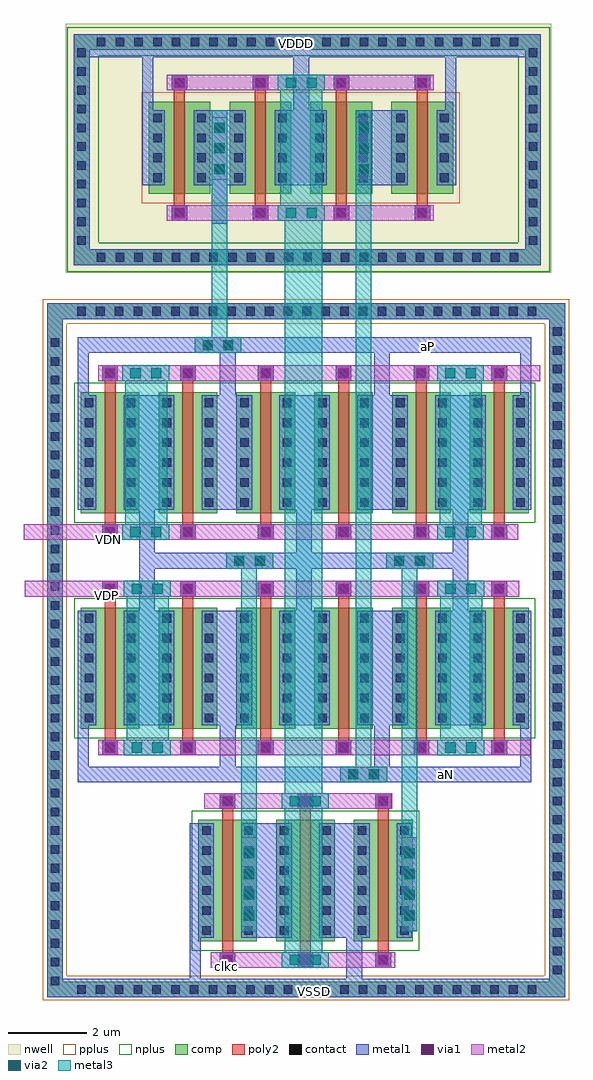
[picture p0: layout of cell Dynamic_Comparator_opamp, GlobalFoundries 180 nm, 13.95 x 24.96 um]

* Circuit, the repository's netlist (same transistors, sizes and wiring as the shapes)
** sch_path: /home/gmaranhao/Desktop/Juan_bracolin/PICO_contest/Dynamic_Comparator/xschem/Dynamic_Comparator_opamp.sch
.subckt Dynamic_Comparator_opamp aN VDDD aP VSSD clkc VDP VDN
*.PININFO VDDD:B VSSD:B clkc:I VDP:I VDN:I aN:B aP:B
M0[1] x clkc VSSD VSSD nfet_03v3 L=0.28u W=3.1u nf=1 m=1
M0[2] x clkc VSSD VSSD nfet_03v3 L=0.28u W=3.1u nf=1 m=1
M0[3] x clkc VSSD VSSD nfet_03v3 L=0.28u W=3.1u nf=1 m=1
M1[1] aN VDP x VSSD nfet_03v3 L=0.28u W=3.1u nf=1 m=1
M1[2] aN VDP x VSSD nfet_03v3 L=0.28u W=3.1u nf=1 m=1
M1[3] aN VDP x VSSD nfet_03v3 L=0.28u W=3.1u nf=1 m=1
M1[4] aN VDP x VSSD nfet_03v3 L=0.28u W=3.1u nf=1 m=1
M1[5] aN VDP x VSSD nfet_03v3 L=0.28u W=3.1u nf=1 m=1
M1[6] aN VDP x VSSD nfet_03v3 L=0.28u W=3.1u nf=1 m=1
M2[1] aP VDN x VSSD nfet_03v3 L=0.28u W=3.1u nf=1 m=1
M2[2] aP VDN x VSSD nfet_03v3 L=0.28u W=3.1u nf=1 m=1
M2[3] aP VDN x VSSD nfet_03v3 L=0.28u W=3.1u nf=1 m=1
M2[4] aP VDN x VSSD nfet_03v3 L=0.28u W=3.1u nf=1 m=1
M2[5] aP VDN x VSSD nfet_03v3 L=0.28u W=3.1u nf=1 m=1
M2[6] aP VDN x VSSD nfet_03v3 L=0.28u W=3.1u nf=1 m=1
M3[1] aN clkc VDDD VDDD pfet_03v3 L=0.28u W=2.35u nf=1 m=1
M3[2] aN clkc VDDD VDDD pfet_03v3 L=0.28u W=2.35u nf=1 m=1
M4[1] aP clkc VDDD VDDD pfet_03v3 L=0.28u W=2.35u nf=1 m=1
M4[2] aP clkc VDDD VDDD pfet_03v3 L=0.28u W=2.35u nf=1 m=1
.ends
.end

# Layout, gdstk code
import gdstk
lib = gdstk.Library(unit=1e-6, precision=1e-09)
def R(c, l, rs):  # rectangles x0, y0, x1, y1
    for r in rs: c.add(gdstk.rectangle(r[:2], r[2:], *l))
def A(c, l, x, y, w, h, nx, ny, dx, dy):  # array of equal rectangles
    R(c, l, [(x+i*dx, y+j*dy, x+i*dx+w, y+j*dy+h) for i in range(nx) for j in range(ny)])
nwell = (21, 0)
comp = (22, 0)
poly2 = (30, 0)
pplus = (31, 0)
nplus = (32, 0)
contact = (33, 0)
metal1 = (34, 0)
via1 = (35, 0)
metal2 = (36, 0)
via2 = (38, 0)
metal3 = (42, 0)

nfet = lib.new_cell('nfet')
R(nfet, comp, [(-0.42,0,0,3.1), (0,0,0.66,3.1), (0.66,0,1.08,3.1)])
R(nfet, poly2, [(0.15,-0.66,0.51,-0.3), (0.19,-0.3,0.47,3.4), (0.15,3.4,0.51,3.76)])
R(nfet, nplus, [(-0.59,-0.24,1.25,3.34)])
A(nfet, contact, -0.32, 0.165, 0.22, 0.22, 1, 6, 0, 0.51)
A(nfet, contact, 0.76, 0.165, 0.22, 0.22, 1, 6, 0, 0.51)
R(nfet, contact, [(0.22,-0.59,0.44,-0.37), (0.22,3.47,0.44,3.69)])
R(nfet, metal1, [(0.14,-0.671,0.52,-0.289), (-0.4,0.085,-0.02,3.015), (0.68,0.085,1.06,3.015), (0.14,3.389,0.52,3.771)])

pfet_1 = lib.new_cell('pfet$1')
R(pfet_1, nwell, [(-0.9,-0.44,1.56,2.79)])
R(pfet_1, comp, [(-0.46,0,0,2.35), (0,0,0.66,2.35), (0.66,0,1.12,2.35)])
R(pfet_1, poly2, [(0.14,-0.68,0.52,-0.3), (0.19,-0.3,0.47,2.65), (0.14,2.65,0.52,3.03)])
R(pfet_1, pplus, [(-0.63,-0.24,1.29,2.59)])
A(pfet_1, contact, -0.34, 0.3, 0.22, 0.22, 1, 4, 0, 0.51)
A(pfet_1, contact, 0.78, 0.3, 0.22, 0.22, 1, 4, 0, 0.51)
R(pfet_1, contact, [(0.22,-0.6,0.44,-0.38), (0.22,2.73,0.44,2.95)])
R(pfet_1, metal1, [(0.14,-0.681,0.52,-0.299), (-0.42,0.22,-0.04,2.13), (0.7,0.22,1.08,2.13), (0.14,2.649,0.52,3.031)])

via_dev = lib.new_cell('via_dev')
R(via_dev, poly2, [(0,0,0.4,0.4)])
R(via_dev, contact, [(0.09,0.09,0.31,0.31)])
R(via_dev, metal1, [(0,0,0.4,0.4)])
R(via_dev, via1, [(0.07,0.07,0.33,0.33)])
R(via_dev, metal2, [(0,0,0.4,0.4)])

via_dev_8 = lib.new_cell('via_dev$8')
R(via_dev_8, metal2, [(0,0,1.2,0.4)])
R(via_dev_8, via2, [(0.205,0.07,0.465,0.33), (0.735,0.07,0.995,0.33)])
R(via_dev_8, metal3, [(0,0,1.2,0.4)])

via_dev_16 = lib.new_cell('via_dev$16')
R(via_dev_16, comp, [(0,0,12,0.4)])
A(via_dev_16, contact, 0.13, 0.09, 0.22, 0.22, 25, 1, 0.48, 0)
R(via_dev_16, metal1, [(0,0,12,0.4)])

via_dev_19 = lib.new_cell('via_dev$19')
R(via_dev_19, comp, [(0,0,11.15,0.4)])
A(via_dev_19, contact, 0.185, 0.09, 0.22, 0.22, 23, 1, 0.48, 0)
R(via_dev_19, metal1, [(0,0,11.15,0.4)])

via_dev_21 = lib.new_cell('via_dev$21')
R(via_dev_21, metal1, [(0,0,0.4,1.6)])
A(via_dev_21, via1, 0.07, 0.14, 0.26, 0.26, 1, 3, 0, 0.53)
R(via_dev_21, metal2, [(0,0,0.4,1.6)])
A(via_dev_21, via2, 0.07, 0.14, 0.26, 0.26, 1, 3, 0, 0.53)
R(via_dev_21, metal3, [(0,0,0.4,1.6)])

via_dev_9 = lib.new_cell('via_dev$9')
R(via_dev_9, comp, [(0,0,0.4,17)])
A(via_dev_9, contact, 0.09, 0.23, 0.22, 0.22, 1, 35, 0, 0.48)
R(via_dev_9, metal1, [(0,0,0.4,17)])

via_dev_10 = lib.new_cell('via_dev$10')
R(via_dev_10, metal1, [(0,0,0.4,2.4)])
A(via_dev_10, via1, 0.07, 0.275, 0.26, 0.26, 1, 4, 0, 0.53)
R(via_dev_10, metal2, [(0,0,0.4,2.4)])
A(via_dev_10, via2, 0.07, 0.275, 0.26, 0.26, 1, 4, 0, 0.53)
R(via_dev_10, metal3, [(0,0,0.4,2.4)])

via_dev_7 = lib.new_cell('via_dev$7')
R(via_dev_7, metal1, [(0,0,1.2,0.4)])
R(via_dev_7, via1, [(0.205,0.07,0.465,0.33), (0.735,0.07,0.995,0.33)])
R(via_dev_7, metal2, [(0,0,1.2,0.4)])
R(via_dev_7, via2, [(0.205,0.07,0.465,0.33), (0.735,0.07,0.995,0.33)])
R(via_dev_7, metal3, [(0,0,1.2,0.4)])

via_dev_17 = lib.new_cell('via_dev$17')
R(via_dev_17, comp, [(0,0,0.4,5.5)])
A(via_dev_17, contact, 0.09, 0.24, 0.22, 0.22, 1, 11, 0, 0.48)
R(via_dev_17, metal1, [(0,0,0.4,5.5)])

dynamic_comparator_opamp = lib.new_cell('Dynamic_Comparator_opamp')
R(dynamic_comparator_opamp, nwell, [(-2.63,6.52,9.775,12.885)])
R(dynamic_comparator_opamp, comp, [(-3.11,-12,-2.41,-11.6), (9.475,-12,10.135,-11.6), (9.735,-11.99,10.135,-11.41), (-3.11,5.07,-2.71,5.65), (9.735,5.07,10.135,5.65), (-3.11,5.34,-2.405,5.74), (9.475,5.34,10.135,5.74), (-2.425,6.72,-1.945,7.12), (9.095,6.72,9.51,7.12), (9.04,12.485,9.51,12.625), (-2.425,12.5,-2.015,12.625)])
R(dynamic_comparator_opamp, pplus, [(-3.225,-12.07,-2.605,5.845), (-3.205,-12.07,10.24,-11.45), (9.62,-12.07,10.24,5.69), (-3.205,5.225,10.24,5.845), (-0.685,8.305,7.445,11.135)])
R(dynamic_comparator_opamp, nplus, [(0.585,-10.805,6.405,-7.225), (-2.42,-5.375,9.37,-1.795), (-2.42,0.135,9.37,3.715), (-2.595,6.55,-1.795,12.805), (-2.505,6.55,9.235,7.29), (8.94,6.55,9.74,12.805), (-2.35,12.075,8.95,12.805)])
A(dynamic_comparator_opamp, metal1, 0.99, -5.05, 0.975, 2.93, 3, 2, 1.99, 5.51)
R(dynamic_comparator_opamp, metal1, [(-3.11,-12,-2.4,-11.6), (-3.11,-12,10.135,-11.525), (9.43,-12,10.135,-11.6), (4.545,-11.9,4.945,-8.84), (0.535,-11.76,0.825,-7.55), (1.99,-10.48,2.965,-7.55), (3.995,-10.48,4.97,-7.55), (-2.33,-6.5,9.275,-6.1), (-2.33,-6.33,-2.04,-2.12), (8.985,-6.33,9.275,-2.12), (1.31,-6.32,1.71,-3.26), (5.255,-6.32,5.655,-3.26), (-1.055,-5.05,-0.08,-2.12), (-1.02,-5.05,-0.045,-2.12), (6.965,-5.05,7.94,-2.12), (6.965,-5.05,7.94,-2.12), (-0.755,-2.39,-0.355,0.67), (3.255,-2.39,3.655,0.715), (7.26,-2.39,7.66,0.705), (-0.755,-1.04,7.66,-0.64), (-2.33,0.46,-2.04,4.67), (-1.09,0.46,-0.115,3.39), (-1.02,0.46,-0.045,3.39), (6.955,0.46,7.93,3.39), (6.965,0.46,7.94,3.39), (8.985,0.46,9.275,4.67), (1.31,1.62,1.71,4.68), (5.255,1.645,5.655,4.705), (-2.33,4.475,9.275,4.875), (-3.11,5.035,-2.71,5.74), (-3.11,5.34,-2.46,5.74), (9.51,5.34,10.135,5.74), (-2.425,6.72,-1.945,7.12), (9.095,6.72,9.51,7.12), (1.1,7.78,1.5,10.635), (-0.68,8.765,-0.39,12.545), (0.86,8.765,1.835,10.675), (2.885,8.765,3.86,10.675), (4.965,8.765,5.94,10.675), (7.065,8.765,7.355,12.545), (3.19,8.995,3.59,12.49), (-2.425,12.035,9.51,12.625), (9.05,12.49,9.51,12.625), (-2.425,12.495,-2.02,12.625)])
R(dynamic_comparator_opamp, metal2, [(1.07,-11.245,5.795,-10.845), (0.915,-7.185,5.71,-6.785), (-1.8,-5.815,9.255,-5.415), (-3.675,-1.755,8.96,-1.355), (-3.705,-0.305,8.935,0.095), (-1.8,3.755,9.505,4.155), (-0.055,7.855,6.775,8.255), (-0.055,11.185,6.775,11.585)])
R(dynamic_comparator_opamp, metal3, [(2.965,-11.11,3.925,8.465), (1.855,-7.945,2.255,-0.695), (5.955,-7.945,6.355,-0.695), (4.785,-6.415,5.185,10.675), (-1.075,-5.69,-0.005,-1.515), (6.945,-5.69,8.015,-1.515), (-1.11,-0.155,-0.04,4.02), (6.935,-0.155,8.005,4.02), (1.1,4.49,1.5,10.675), (2.855,8.055,3.925,11.415)])
dynamic_comparator_opamp.add(gdstk.Reference(nfet, (6.13,-5.135)))
dynamic_comparator_opamp.add(gdstk.Reference(nfet, (8.12,-5.135)))
dynamic_comparator_opamp.add(gdstk.Reference(nfet, (6.13,0.375)))
dynamic_comparator_opamp.add(gdstk.Reference(pfet_1, (-0.055,8.545)))
dynamic_comparator_opamp.add(gdstk.Reference(pfet_1, (2.015,8.545)))
dynamic_comparator_opamp.add(gdstk.Reference(nfet, (0.16,0.375)))
dynamic_comparator_opamp.add(gdstk.Reference(nfet, (2.15,0.375)))
dynamic_comparator_opamp.add(gdstk.Reference(nfet, (0.16,-5.135)))
dynamic_comparator_opamp.add(gdstk.Reference(nfet, (2.15,-5.135)))
dynamic_comparator_opamp.add(gdstk.Reference(nfet, (4.14,-5.135)))
dynamic_comparator_opamp.add(gdstk.Reference(nfet, (4.14,0.375)))
dynamic_comparator_opamp.add(gdstk.Reference(via_dev, (-1.7,3.755)))
dynamic_comparator_opamp.add(gdstk.Reference(via_dev, (0.29,3.755)))
dynamic_comparator_opamp.add(gdstk.Reference(via_dev, (2.28,3.755)))
dynamic_comparator_opamp.add(gdstk.Reference(via_dev, (4.27,3.755)))
dynamic_comparator_opamp.add(gdstk.Reference(via_dev, (6.26,3.755)))
dynamic_comparator_opamp.add(gdstk.Reference(via_dev, (8.25,3.755)))
dynamic_comparator_opamp.add(gdstk.Reference(via_dev, (-1.7,-0.305)))
dynamic_comparator_opamp.add(gdstk.Reference(via_dev, (-1.7,-1.755)))
dynamic_comparator_opamp.add(gdstk.Reference(via_dev, (0.29,-1.755)))
dynamic_comparator_opamp.add(gdstk.Reference(via_dev, (2.28,-1.755)))
dynamic_comparator_opamp.add(gdstk.Reference(via_dev, (4.27,-1.755)))
dynamic_comparator_opamp.add(gdstk.Reference(via_dev, (6.26,-1.755)))
dynamic_comparator_opamp.add(gdstk.Reference(via_dev, (8.25,-1.755)))
dynamic_comparator_opamp.add(gdstk.Reference(nfet, (1.175,-10.565)))
dynamic_comparator_opamp.add(gdstk.Reference(nfet, (3.165,-10.565)))
dynamic_comparator_opamp.add(gdstk.Reference(nfet, (5.155,-10.565)))
dynamic_comparator_opamp.add(gdstk.Reference(via_dev, (-1.7,-5.815)))
dynamic_comparator_opamp.add(gdstk.Reference(via_dev, (0.29,-5.815)))
dynamic_comparator_opamp.add(gdstk.Reference(via_dev, (2.28,-5.815)))
dynamic_comparator_opamp.add(gdstk.Reference(via_dev, (4.27,-5.815)))
dynamic_comparator_opamp.add(gdstk.Reference(via_dev, (6.26,-5.815)))
dynamic_comparator_opamp.add(gdstk.Reference(via_dev, (8.25,-5.815)))
dynamic_comparator_opamp.add(gdstk.Reference(via_dev, (0.29,-0.305)))
dynamic_comparator_opamp.add(gdstk.Reference(via_dev, (2.28,-0.305)))
dynamic_comparator_opamp.add(gdstk.Reference(via_dev, (4.27,-0.305)))
dynamic_comparator_opamp.add(gdstk.Reference(via_dev, (6.26,-0.305)))
dynamic_comparator_opamp.add(gdstk.Reference(via_dev, (8.25,-0.305)))
dynamic_comparator_opamp.add(gdstk.Reference(nfet, (-1.83,0.375)))
dynamic_comparator_opamp.add(gdstk.Reference(nfet, (-1.83,-5.135)))
dynamic_comparator_opamp.add(gdstk.Reference(nfet, (8.12,0.375)))
dynamic_comparator_opamp.add(gdstk.Reference(via_dev_8, (-1.15,-1.755)))
dynamic_comparator_opamp.add(gdstk.Reference(via_dev_8, (-1.15,-5.815)))
dynamic_comparator_opamp.add(gdstk.Reference(via_dev_8, (6.86,-0.305)))
dynamic_comparator_opamp.add(gdstk.Reference(via_dev_8, (6.86,3.755)))
dynamic_comparator_opamp.add(gdstk.Reference(via_dev_16, (-2.47,5.34)))
dynamic_comparator_opamp.add(gdstk.Reference(via_dev_19, (-2.025,12.225)))
dynamic_comparator_opamp.add(gdstk.Reference(via_dev_21, (4.785,8.905)))
dynamic_comparator_opamp.add(gdstk.Reference(via_dev_9, (9.735,-11.64)))
dynamic_comparator_opamp.add(gdstk.Reference(via_dev_9, (-3.11,-11.92)))
dynamic_comparator_opamp.add(gdstk.Reference(via_dev_16, (-2.47,-12)))
dynamic_comparator_opamp.add(gdstk.Reference(via_dev, (1.305,-7.185)))
dynamic_comparator_opamp.add(gdstk.Reference(via_dev, (3.295,-7.185)))
dynamic_comparator_opamp.add(gdstk.Reference(via_dev, (5.285,-7.185)))
dynamic_comparator_opamp.add(gdstk.Reference(via_dev, (1.305,-11.245)))
dynamic_comparator_opamp.add(gdstk.Reference(via_dev, (3.295,-11.245)))
dynamic_comparator_opamp.add(gdstk.Reference(via_dev, (5.285,-11.245)))
dynamic_comparator_opamp.add(gdstk.Reference(via_dev_8, (2.89,-7.185)))
dynamic_comparator_opamp.add(gdstk.Reference(via_dev_8, (2.89,-11.245)))
dynamic_comparator_opamp.add(gdstk.Reference(via_dev_10, (5.955,-10.315)))
dynamic_comparator_opamp.add(gdstk.Reference(via_dev_10, (1.855,-10.315)))
dynamic_comparator_opamp.add(gdstk.Reference(via_dev_7, (1.47,-1.04)))
dynamic_comparator_opamp.add(gdstk.Reference(via_dev_7, (5.56,-1.04)))
dynamic_comparator_opamp.add(gdstk.Reference(via_dev, (0.075,7.855)))
dynamic_comparator_opamp.add(gdstk.Reference(via_dev, (2.145,7.855)))
dynamic_comparator_opamp.add(gdstk.Reference(via_dev, (0.075,11.185)))
dynamic_comparator_opamp.add(gdstk.Reference(via_dev, (2.145,11.185)))
dynamic_comparator_opamp.add(gdstk.Reference(via_dev, (6.285,11.185)))
dynamic_comparator_opamp.add(gdstk.Reference(via_dev, (4.215,11.185)))
dynamic_comparator_opamp.add(gdstk.Reference(via_dev, (6.285,7.855)))
dynamic_comparator_opamp.add(gdstk.Reference(via_dev, (4.215,7.855)))
dynamic_comparator_opamp.add(gdstk.Reference(pfet_1, (6.155,8.545)))
dynamic_comparator_opamp.add(gdstk.Reference(pfet_1, (4.085,8.545)))
dynamic_comparator_opamp.add(gdstk.Reference(via_dev_21, (1.1,8.905)))
dynamic_comparator_opamp.add(gdstk.Reference(via_dev_8, (2.79,7.855)))
dynamic_comparator_opamp.add(gdstk.Reference(via_dev_8, (2.79,11.185)))
dynamic_comparator_opamp.add(gdstk.Reference(via_dev_19, (-2.025,6.72)))
dynamic_comparator_opamp.add(gdstk.Reference(via_dev_17, (9.11,7)))
dynamic_comparator_opamp.add(gdstk.Reference(via_dev_17, (-2.425,7)))
dynamic_comparator_opamp.add(gdstk.Reference(via_dev_8, (6.87,-1.755)))
dynamic_comparator_opamp.add(gdstk.Reference(via_dev_8, (6.87,-5.815)))
dynamic_comparator_opamp.add(gdstk.Reference(via_dev_8, (-1.185,-0.305)))
dynamic_comparator_opamp.add(gdstk.Reference(via_dev_8, (-1.185,3.755)))
dynamic_comparator_opamp.add(gdstk.Reference(via_dev_7, (0.66,4.475)))
dynamic_comparator_opamp.add(gdstk.Reference(via_dev_7, (4.385,-6.5)))
dynamic_comparator_opamp.add(gdstk.Label('VDDD', (3.27,12.39), layer=34, texttype=10))
dynamic_comparator_opamp.add(gdstk.Label('VSSD', (3.72,-11.845), layer=34, texttype=10))
dynamic_comparator_opamp.add(gdstk.Label('clkc', (1.485,-11.21), layer=34, texttype=10))
dynamic_comparator_opamp.add(gdstk.Label('aP', (6.625,4.645), layer=34, texttype=10))
dynamic_comparator_opamp.add(gdstk.Label('aN', (7.065,-6.31), layer=34, texttype=10))
dynamic_comparator_opamp.add(gdstk.Label('VDN', (-1.53,-0.285), layer=34, texttype=10))
dynamic_comparator_opamp.add(gdstk.Label('VDP', (-1.59,-1.725), layer=34, texttype=10))

lib.write_gds('Dynamic_Comparator_opamp.gds')
